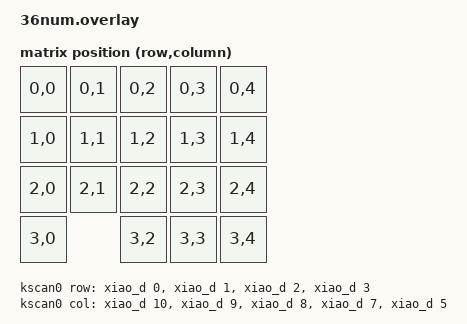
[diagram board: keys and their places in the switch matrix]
/*
 * Copyright (c) 2020 The ZMK Contributors
 *
 * SPDX-License-Identifier: MIT
 */

#include <dt-bindings/zmk/matrix_transform.h>

/ {
	chosen {
		zmk,kscan = &kscan0;
		zmk,matrix_transform = &default_transform;
	};

	default_transform: keymap_transform_0 {
		compatible = "zmk,matrix-transform";
		columns = <5>;
		rows = <4>;
// | SW1  | SW2  | SW3  | SW4  | SW5  |
// | SW6  | SW7  | SW8  | SW9  | SW10 |
// | SW11 | SW12 | SW13 | SW14 | SW15 |
// | SW16 |      | SW17 | SW18 | SW19 |
		map = <
RC(0,0) RC(0,1) RC(0,2) RC(0,3) RC(0,4)
RC(1,0) RC(1,1) RC(1,2) RC(1,3) RC(1,4)
RC(2,0) RC(2,1) RC(2,2) RC(2,3) RC(2,4)
RC(3,0)         RC(3,2) RC(3,3) RC(3,4)
		>;
	};
    kscan0: kscan {
        compatible = "zmk,kscan-gpio-matrix";
        diode-direction = "col2row";

    col-gpios
        = <&xiao_d 10 GPIO_ACTIVE_HIGH>    //Col0
        , <&xiao_d 9 GPIO_ACTIVE_HIGH>       //Col1
        , <&xiao_d 8 GPIO_ACTIVE_HIGH>      //Col2
        , <&xiao_d 7 GPIO_ACTIVE_HIGH>      //Col3
        , <&xiao_d 5 GPIO_ACTIVE_HIGH>   //Col4
        // , <&xiao_d 6 GPIO_ACTIVE_HIGH>       //Col5

        // = <&gpio1 15 GPIO_ACTIVE_HIGH>    //Col0
        // , <&gpio1 14 GPIO_ACTIVE_HIGH>       //Col1       
        // , <&gpio1 13 GPIO_ACTIVE_HIGH>      //Col2
        // , <&gpio1 12 GPIO_ACTIVE_HIGH>      //Col3
        // , <&gpio0 5 GPIO_ACTIVE_HIGH>   //Col4
        // , <&gpio1 11 GPIO_ACTIVE_HIGH>       //Col5
        ;
	row-gpios
    	= <&xiao_d 0 (GPIO_ACTIVE_HIGH | GPIO_PULL_DOWN)>//Row0
        , <&xiao_d 1 (GPIO_ACTIVE_HIGH | GPIO_PULL_DOWN)>//Row1
        , <&xiao_d 2 (GPIO_ACTIVE_HIGH | GPIO_PULL_DOWN)>//Row2
        , <&xiao_d 3 (GPIO_ACTIVE_HIGH | GPIO_PULL_DOWN)>//Row3
        ;
    };
};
